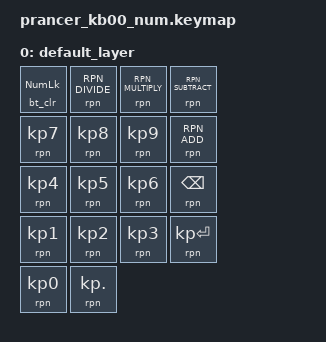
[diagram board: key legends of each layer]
#include <behaviors.dtsi>
#include <dt-bindings/zmk/bt.h>
#include <dt-bindings/zmk/keys.h>
#include <dt-bindings/zmk/outputs.h>
#include <dt-bindings/zmk/rpn.h>

/ {

    behaviors {
        // Thanks @joelspadin!
        ZMK_MACRO(bt_clr,
            bindings = <&bt BT_CLR>;
        )
        bt_clr_tap: bt_clr_tap {
            compatible = "zmk,behavior-hold-tap";
            label = "BT_TAP";
            #binding-cells = <2>;
            flavor = "hold-preferred";
            tapping-term-ms = <200>;
            bindings = <&bt_clr>, <&kp>;
        };
        rpn: rpn_calc {
            compatible = "zmk,behavior-rpn-calculator";
            label = "RPN_CALC";
            #binding-cells = <1>;
        };
    };

    keymap {
        compatible = "zmk,keymap";
        default_layer {
            // ┌───┬───┬───┬───┐
            // │NUM│ / │ * │ - │
            // ├───┼───┼───┼───┤
            // │ 7 │ 8 │ 9 │ + │
            // ├───┼───┼───┤───│
            // │ 4 │ 5 │ 6 │DEL│
            // ├───┼───┼───┼───┤
            // │ 1 │ 2 │ 3 │RET│
            // ├───┴───┼───┤   │
            // │ 0     │ . │   │
            // └───────┴───┴───┘
            bindings = <
                &bt_clr_tap 0 KP_NUM   &rpn RPN_DIVIDE   &rpn RPN_MULTIPLY  &rpn RPN_SUBTRACT
                &rpn KP_NUMBER_7       &rpn KP_NUMBER_8  &rpn KP_NUMBER_9   &rpn RPN_ADD
                &rpn KP_NUMBER_4       &rpn KP_NUMBER_5  &rpn KP_NUMBER_6   &rpn BACKSPACE
                &rpn KP_NUMBER_1       &rpn KP_NUMBER_2  &rpn KP_NUMBER_3   &rpn KP_ENTER
                &rpn KP_NUMBER_0       &rpn KP_DOT
            >;
        };
    };
};
